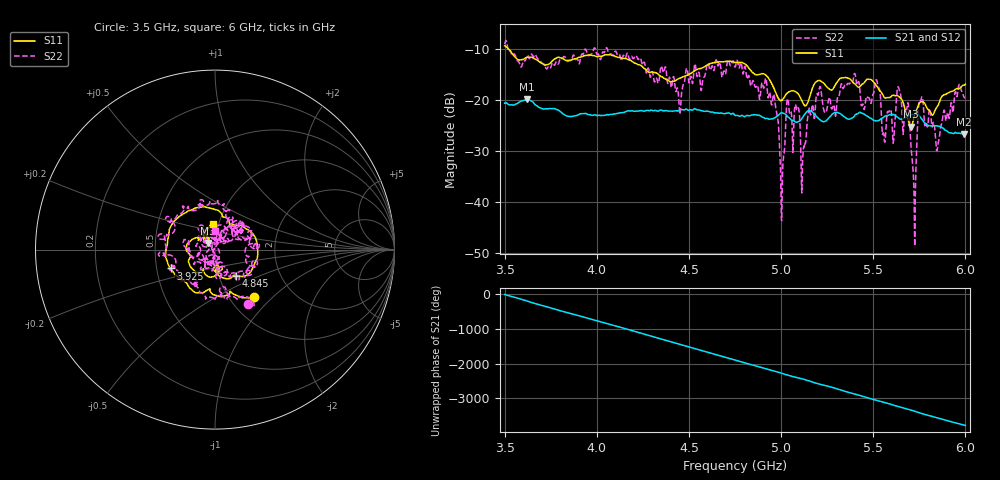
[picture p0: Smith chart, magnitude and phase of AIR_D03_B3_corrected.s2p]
! Created with skrf 1.9.0 (http://scikit-rf.org).
# Hz S RI R 50.0
!freq ReS11 ImS11 ReS21 ImS21 ReS12 ImS12 ReS22 ImS22
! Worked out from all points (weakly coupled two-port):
!   1601 points, 3.5 GHz to 6 GHz, reference 50 ohm
!   highest |S21| = -19.86 dB at 3.622 GHz (marker M1); lowest = -26.7 dB at 5.994 GHz (marker M2)
!   lowest |S11| = -25.2 dB at 5.705 GHz (marker M3), VSWR 1.12, Z = 46 + j3.47 ohm
!   |S11| at or under -10 dB: 3.522 GHz to end of sweep
!   |S22| runs from -48.6 to -8.3 dB; largest |S21 - S12| = 0.0011
!   S11 on the Smith chart (normalised r, x): 3.5 GHz: 1.29, -0.77; 3.925 GHz: 0.59, -0.13; 4.845 GHz: 1.21, -0.36; 6 GHz: 0.94, +0.27
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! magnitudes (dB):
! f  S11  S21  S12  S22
! 3.5 GHz  -9.4  -20.6  -20.6  -9.0
! 3.622 GHz  -11.6  -19.9  -19.9  -11.2
! 3.917 GHz  -11.5  -22.7  -22.7  -11.1
! 3.925 GHz  -11.4  -22.7  -22.6  -11.0
! 4.334 GHz  -15.0  -22.1  -22.1  -16.6
! 4.75 GHz  -12.6  -23.0  -22.9  -13.5
! 4.845 GHz  -14.6  -22.9  -22.9  -16.3
! 4.966 GHz  -18.0  -23.5  -23.4  -20.0
! 5.005 GHz  -19.9  -22.5  -22.5  -40.5
! 5.039 GHz  -18.4  -23.3  -23.3  -20.2
! 5.089 GHz  -18.6  -24.3  -24.3  -21.6
! 5.119 GHz  -20.5  -23.3  -23.2  -30.6
! 5.167 GHz  -18.0  -22.3  -22.2  -21.3
! 5.395 GHz  -16.7  -23.2  -23.3  -15.2
! 5.584 GHz  -19.5  -22.9  -22.9  -22.2
! 5.641 GHz  -19.4  -23.6  -23.6  -17.9
! 5.705 GHz  -25.2  -23.0  -22.9  -28.9
! 5.722 GHz  -23.2  -22.7  -22.6  -39.4
! 5.758 GHz  -20.3  -23.4  -23.4  -20.1
! 5.848 GHz  -21.2  -25.1  -25.0  -29.4
! 5.994 GHz  -17.1  -26.7  -26.6  -19.5
! 6 GHz  -16.9  -26.7  -26.6  -19.5
